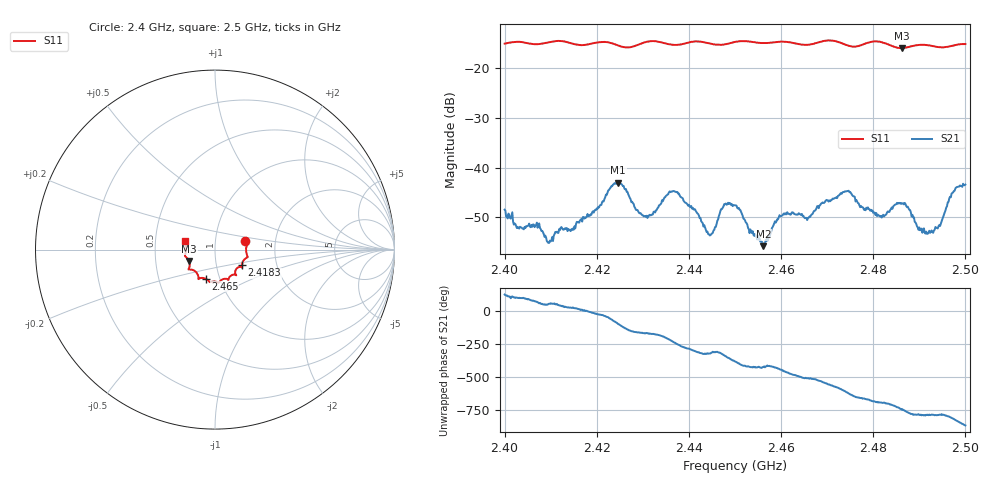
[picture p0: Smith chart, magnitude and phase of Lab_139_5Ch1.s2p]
# Hz S RI R 50
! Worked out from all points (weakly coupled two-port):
!   601 points, 2.4 GHz to 2.5 GHz, reference 50 ohm
!   highest |S21| = -43.04 dB at 2.4247 GHz (marker M1); lowest = -55.8 dB at 2.4562 GHz (marker M2)
!   lowest |S11| = -16.0 dB at 2.4862 GHz (marker M3), VSWR 1.37, Z = 37.1 - j4.81 ohm
!   |S11| at or under -10 dB: start of sweep to end of sweep
!   S12 and S22 are empty: the file has one direction only
!   S11 on the Smith chart (normalised r, x): 2.4 GHz: 1.40, +0.13; 2.4183 GHz: 1.33, -0.24; 2.465 GHz: 0.86, -0.29; 2.5 GHz: 0.71, +0.07
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2.4e9  0.1689 0.0459  -0.00223 0.00305  0 0  0 0
2.409667e9  0.1782 -0.0327  0.000974 0.00146  0 0  0 0
2.416667e9  0.1547 -0.0683  0.00299 0.000556  0 0  0 0
2.418333e9  0.1498 -0.0868  0.00328 -0.00034  0 0  0 0
2.424667e9  0.1374 -0.0961  -0.00106 -0.00697  0 0  0 0
2.430167e9  0.1141 -0.138  -0.00317 -0.000681  0 0  0 0
2.433333e9  0.1169 -0.1412  -0.00396 0.000119  0 0  0 0
2.437333e9  0.0872 -0.146  -0.002 0.00528  0 0  0 0
2.444667e9  0.0638 -0.1629  0.00165 0.00128  0 0  0 0
2.4475e9  0.0393 -0.167  0.00367 0.00175  0 0  0 0
2.45e9  0.0251 -0.1806  0.00384 -0.00164  0 0  0 0
2.456167e9  -0.00222 -0.1774  0.000699 -0.00147  0 0  0 0
2.460167e9  -0.0284 -0.1813  0.00014 -0.00329  0 0  0 0
2.465e9  -0.0528 -0.162  -0.00273 -0.00159  0 0  0 0
2.466667e9  -0.0713 -0.1576  -0.00311 -0.00134  0 0  0 0
2.474167e9  -0.0959 -0.14  -0.00124 0.00562  0 0  0 0
2.483333e9  -0.1422 -0.0958  0.00347 0.000942  0 0  0 0
2.486167e9  -0.1446 -0.0632  0.00375 -0.00215  0 0  0 0
2.490167e9  -0.1664 -0.0364  0.000755 -0.00222  0 0  0 0
2.492833e9  -0.1643 -0.0207  0.000823 -0.00209  0 0  0 0
2.4975e9  -0.1652 0.0319  -0.00113 -0.00569  0 0  0 0
2.5e9  -0.1668 0.0473  -0.00584 -0.00335  0 0  0 0
